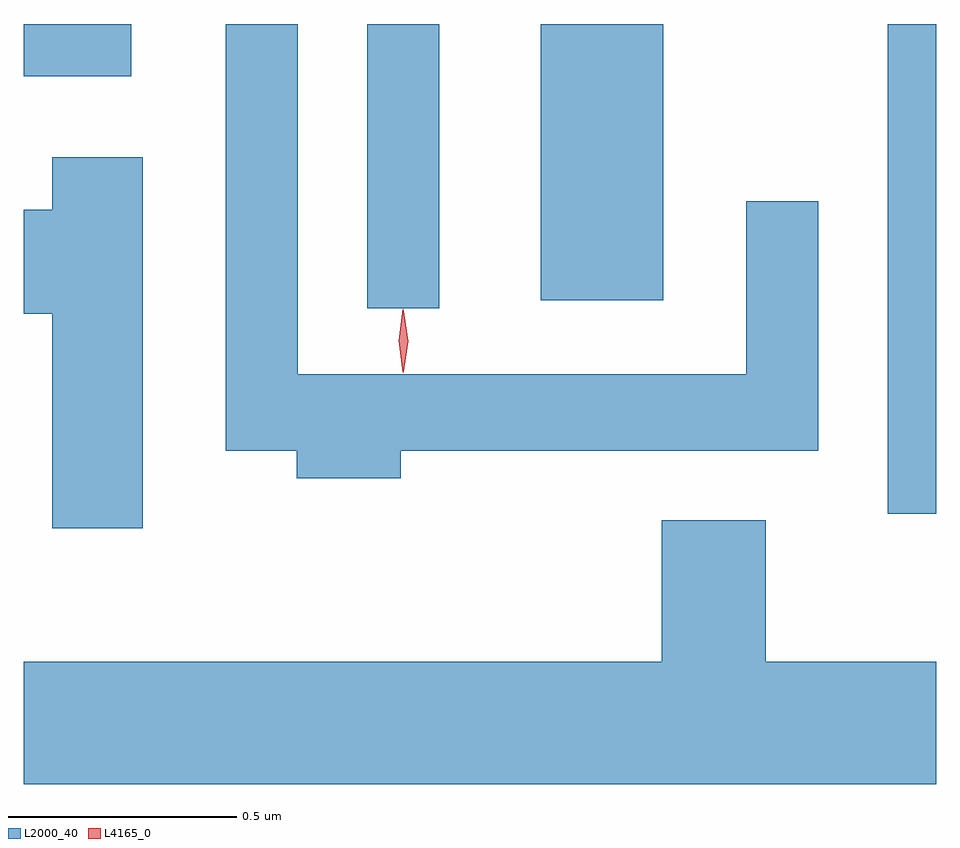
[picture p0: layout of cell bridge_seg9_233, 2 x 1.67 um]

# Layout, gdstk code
import gdstk
lib = gdstk.Library(unit=1e-6, precision=1e-09)
def R(c, l, rs):  # rectangles x0, y0, x1, y1
    for r in rs: c.add(gdstk.rectangle(r[:2], r[2:], *l))
def P(c, l, *ps):  # polygons
    for p in ps: c.add(gdstk.Polygon(p, *l))
L2000_40 = (2000, 40)
L4165_0 = (4165, 0)

bridge_seg9_233 = lib.new_cell('bridge_seg9_233')
R(bridge_seg9_233, L2000_40, [(1480.306,1987.968,1480.413,1989.041), (1479.166,1988.418,1479.324,1989.041), (1479.546,1988.436,1479.814,1989.041), (1478.413,1988.926,1478.649,1989.041)])
P(bridge_seg9_233, L2000_40, [(1479.239,1988.106),(1480.154,1988.106),(1480.154,1988.653),(1479.996,1988.653),(1479.996,1988.274),(1479.014,1988.274),(1479.014,1989.041),(1478.856,1989.041),(1478.856,1988.106),(1479.011,1988.106),(1479.011,1988.046),(1479.239,1988.046)],
  [(1478.674,1988.749),(1478.476,1988.749),(1478.476,1988.634),(1478.413,1988.634),(1478.413,1988.406),(1478.476,1988.406),(1478.476,1987.936),(1478.674,1987.936)],
  [(1480.413,1987.644),(1480.039,1987.644),(1480.039,1987.954),(1479.811,1987.954),(1479.811,1987.644),(1478.413,1987.644),(1478.413,1987.376),(1480.413,1987.376)])
P(bridge_seg9_233, L4165_0, [(1479.245,1988.277),(1479.244,1988.278),(1479.235,1988.347),(1479.244,1988.416),(1479.245,1988.416),(1479.245,1988.416),(1479.255,1988.347),(1479.245,1988.278)],
  [(1479.246,1988.279),(1479.245,1988.28),(1479.236,1988.346),(1479.245,1988.412),(1479.246,1988.413),(1479.246,1988.412),(1479.256,1988.346),(1479.246,1988.28)])

lib.write_gds('bridge_seg9_233.gds')
